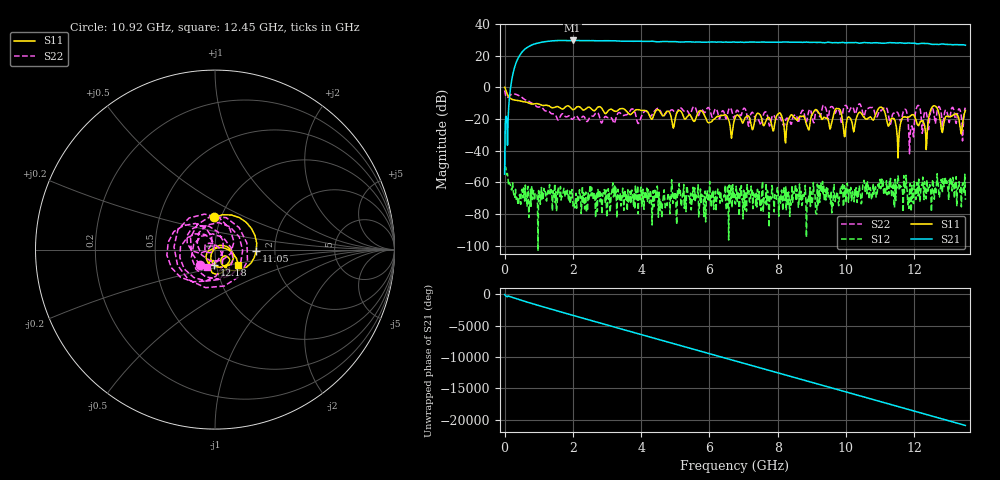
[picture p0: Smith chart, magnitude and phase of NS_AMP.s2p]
!Agilent Technologies,N5230A,MY45000845,A.06.01.05
!Agilent N5230A: A.06.01.05
!Date: Wednesday, February 05, 2014 16:35:03
!Correction: S11(Full 2 Port(1,2)) S21(Full 2 Port(1,2)) S12(Full 2 Port(1,2)) S22(Full 2 Port(1,2))
!S2P File: Measurements: S11, S21, S12, S22:
# Hz S  dB  R 50
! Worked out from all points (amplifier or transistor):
!   801 points, 300 kHz to 13.5 GHz, reference 50 ohm
!   highest |S21| = 29.6 dB at 1.992 GHz (marker M1)
!   |S21| within 3 dB of that: 783.9 MHz to 13.5 GHz (12.71 GHz wide, 178 % of centre)
!   unconditionally stable (mu >= 1): 13.91 MHz to end of sweep
!   at 2.245 GHz: K = 153.00, MAG = 29.8 dB, |S12| = -79.8 dB
!   at 6.75 GHz: K = 84.95, MAG = 28.7 dB, |S12| = -73.4 dB
!   at 13.5 GHz: K = 76.65, MAG = 27.0 dB, |S12| = -71.1 dB
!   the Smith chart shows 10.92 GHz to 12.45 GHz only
!   S11 on the Smith chart (normalised r, x): 10.92 GHz: 0.93, +0.35; 11.05 GHz: 1.59, -0.03; 12.18 GHz: 0.98, -0.17; 12.45 GHz: 1.28, -0.22
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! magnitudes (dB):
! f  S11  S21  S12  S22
! 300 kHz  0.0  -54.9  -51.8  -1.9
! 202.8 MHz  -7.5  3.8  -64.8  -4.5
! 439 MHz  -8.6  20.1  -67.8  -5.4
! 1.992 GHz  -14.0  29.6  -69.6  -20.1
! 2.261 GHz  -13.6  29.6  -73.9  -19.0
! 4.506 GHz  -14.1  28.7  -82.1  -13.4
! 6.75 GHz  -19.6  28.6  -73.4  -17.9
! 8.235 GHz  -35.2  28.6  -62.5  -20.8
! 9.011 GHz  -17.0  28.4  -73.6  -18.5
! 9.551 GHz  -25.7  28.3  -73.6  -12.4
! 9.771 GHz  -13.5  28.2  -70.8  -13.9
! 9.973 GHz  -31.0  28.2  -69.0  -11.5
! 10.92 GHz  -14.9  28.1  -66.5  -18.4
! 11.05 GHz  -12.8  27.9  -58.0  -14.3
! 11.26 GHz  -24.4  28.2  -67.5  -18.8
! 11.54 GHz  -35.9  28.1  -58.8  -17.2
! 11.73 GHz  -18.7  27.8  -61.7  -13.9
! 11.91 GHz  -17.7  27.9  -78.4  -24.9
! 12.08 GHz  -23.0  27.5  -60.1  -12.2
! 12.18 GHz  -21.5  27.7  -67.4  -14.8
! 12.45 GHz  -16.2  27.5  -61.5  -19.5
! 13.5 GHz  -14.6  26.6  -71.1  -12.9
